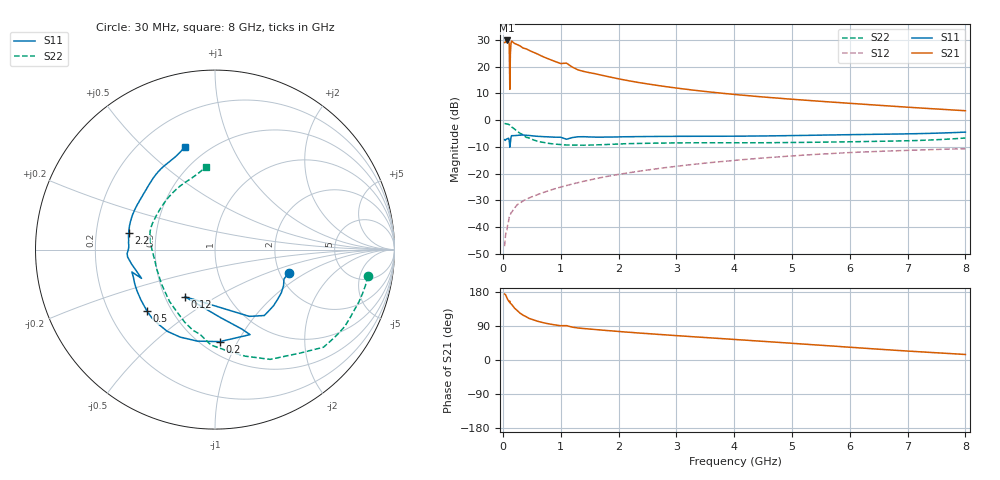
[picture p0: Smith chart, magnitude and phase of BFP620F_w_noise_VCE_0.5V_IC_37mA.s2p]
! Infineon Technologies  Discrete & RF Semiconductors
! BFP620F
! VCE =  0.5 V,  IC =  37 mA
! Common Emitter S-Parameters:  Dec 2014
# GHz  S  MA  R  50
!  f  S11  S21  S12  S22
! GHz  MAG  ANG  MAG  ANG  MAG  ANG  MAG  ANG
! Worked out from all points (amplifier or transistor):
!   95 points, 30 MHz to 8 GHz, reference 50 ohm
!   highest |S21| = 29.8 dB at 70 MHz (marker M1)
!   |S21| within 3 dB of that: 135 MHz to 379.4 MHz (244.4 MHz wide, 95 % of centre) (the widest 1 of 2)
!   unconditionally stable (mu >= 1): 117.5 MHz to 123.4 MHz; 1.828 GHz to end of sweep
!   at 300 MHz: K = 0.41, MSG = 29.3 dB, |S12| = -31.0 dB
!   at 3.3 GHz: K = 1.04, MAG = 12.7 dB, |S12| = -16.5 dB
!   at 8 GHz: K = 1.07, MAG = 5.5 dB, |S12| = -10.7 dB
!   lowest NFmin = 1.29 dB at 450 MHz
!   S11 on the Smith chart (normalised r, x): 30 MHz: 2.24, -0.71; 120 MHz: 0.63, -0.37; 200 MHz: 0.61, -0.85; 500 MHz: 0.37, -0.34; 2.2 GHz: 0.35, +0.09; 8 GHz: 0.38, +0.68
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0.03  0.4311 -17.3  28.2 174.2  0.0044 89.2  0.8639 -9.8
0.05  0.4319 -27.8  29.79 171.2  0.0075 85.2  0.8576 -16.8
0.07  0.4455 -38.3  30.93 164.1  0.0088 72.8  0.8463 -23.4
0.1  0.4587 -53.2  29.21 155.6  0.0132 71.1  0.8319 -34.2
0.11  0.4183 -62.8  26.14 153.5  0.0153 71.8  0.8215 -38.1
0.12  0.3115 -122.6  3.768 155.4  0.0165 71.3  0.813 -42.0
0.13  0.3798 -85.4  17.82 149.4  0.0172 67.5  0.7854 -45.1
0.14  0.4676 -71.3  26.99 148.3  0.0183 65.0  0.7639 -47.9
0.15  0.5124 -67.6  30.24 147.2  0.0188 66.3  0.7482 -50.3
0.2  0.5134 -87.0  27.23 137.1  0.0226 60.5  0.6846 -63.3
0.3  0.5248 -111.7  24.34 123.3  0.0283 56.6  0.5661 -83.5
0.35  0.5273 -120.4  22.29 118.3  0.031 55.7  0.5322 -92.4
0.5  0.5102 -138.1  19.17 107.4  0.0368 55.1  0.4382 -112.7
0.8  0.4862 -156.9  13.81 95.2  0.0483 56.4  0.3668 -138.5
1.1  0.4395 -158.6  11.65 90.7  0.0598 57.9  0.3435 -156.3
1.4  0.4903 -177.4  8.14 83.0  0.072 58.6  0.3403 -168.4
2.2  0.4901 168.8  5.396 73.0  0.1045 56.6  0.364 173.7
2.7  0.4963 161.7  4.42 67.5  0.1248 54.5  0.372 167.1
4.1  0.5021 144.9  2.96 53.2  0.1805 45.6  0.377 152.3
5.4  0.523 132.3  2.29 39.9  0.2284 35.4  0.3864 135.1
6.7  0.5481 119.5  1.836 26.6  0.2652 24.4  0.4058 116.9
8  0.5974 106.5  1.501 14.5  0.2923 14.0  0.4634 96.0
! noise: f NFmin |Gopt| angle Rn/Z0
0.45  1.29  0.13  -172  0.16
0.9  1.32  0.13  -172  0.13
1.5  1.33  0.17  -151  0.11
1.8  1.34  0.18  -151  0.12
1.9  1.35  0.18  -150  0.12
2.4  1.37  0.19  215  0.14
3.5  1.43  0.19  219  0.18
5.5  1.57  0.25  245  0.16
6  1.61  0.26  261  0.18
